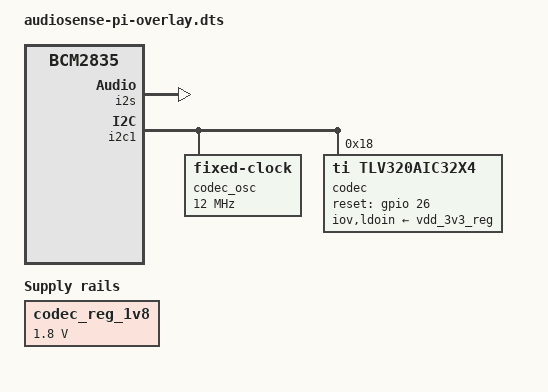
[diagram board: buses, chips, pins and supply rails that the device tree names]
// Definitions for audiosense add on soundcard
/dts-v1/;
/plugin/;
#include <dt-bindings/pinctrl/bcm2835.h>
#include <dt-bindings/gpio/gpio.h>

/ {
	compatible = "brcm,bcm2835";

	fragment@0 {
		target = <&i2s>;
		__overlay__ {
			status = "okay";
		};
	};

	fragment@1 {
		target-path = "/";
		__overlay__ {
			codec_reg_1v8: codec-reg-1v8 {
				compatible = "regulator-fixed";
				regulator-name = "tlv320aic3204_1v8";
				regulator-min-microvolt = <1800000>;
				regulator-max-microvolt = <1800000>;
				regulator-always-on;
			};
		};
	};

	fragment@2 {
		target = <&gpio>;
		__overlay__ {
			codec_rst: codec-rst {
				brcm,pins = <26>;
				brcm,function = <BCM2835_FSEL_GPIO_OUT>;
			};
		};
	};

	fragment@3 {
		target = <&i2c1>;
		__overlay__ {
			#address-cells = <1>;
			#size-cells = <0>;
			status = "okay";

			/* audio external oscillator */
			codec_osc: codec_osc {
				compatible = "fixed-clock";
				#clock-cells = <0>;
				clock-frequency = <12000000>;	/* 12 MHz */
			};

			codec: tlv320aic32x4@18 {
				#sound-dai-cells = <0>;
				compatible = "ti,tlv320aic32x4";
				reg = <0x18>;

				clocks = <&codec_osc>;
				clock-names = "mclk";

				iov-supply = <&vdd_3v3_reg>;
				ldoin-supply = <&vdd_3v3_reg>;

				gpio-controller;
				#gpio-cells = <2>;
				reset-gpios = <&gpio 26 GPIO_ACTIVE_HIGH>;

				status = "okay";
			};
		};
	};

	fragment@4 {
		target = <&sound>;
		__overlay__ {
			compatible = "as,audiosense-pi";
			i2s-controller = <&i2s>;
			status = "okay";
		};
	};
};
